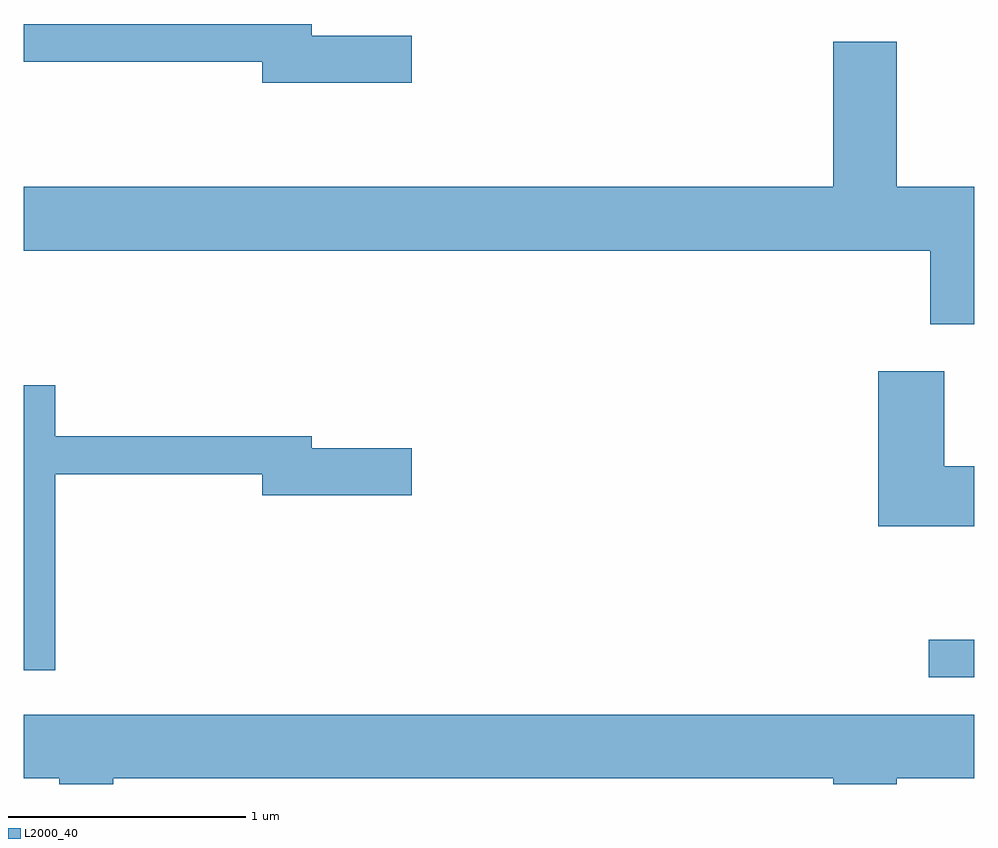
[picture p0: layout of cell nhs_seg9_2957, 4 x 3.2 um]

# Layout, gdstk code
import gdstk
lib = gdstk.Library(unit=1e-6, precision=1e-09)
def R(c, l, rs):  # rectangles x0, y0, x1, y1
    for r in rs: c.add(gdstk.rectangle(r[:2], r[2:], *l))
def P(c, l, *ps):  # polygons
    for p in ps: c.add(gdstk.Polygon(p, *l))
L2000_40 = (2000, 40)

nhs_seg9_2957 = lib.new_cell('nhs_seg9_2957')
R(nhs_seg9_2957, L2000_40, [(275.418,2018.881,275.611,2019.039)])
P(nhs_seg9_2957, L2000_40, [(273.244,2021.579),(272.824,2021.579),(272.824,2021.629),(271.611,2021.629),(271.611,2021.471),(272.616,2021.471),(272.616,2021.381),(273.244,2021.381)],
  [(275.611,2020.944),(275.284,2020.944),(275.284,2021.554),(275.016,2021.554),(275.016,2020.944),(271.611,2020.944),(271.611,2020.676),(275.426,2020.676),(275.426,2020.366),(275.611,2020.366)],
  [(275.611,2019.769),(275.484,2019.769),(275.484,2020.169),(275.206,2020.169),(275.206,2019.516),(275.611,2019.516)],
  [(271.744,2019.736),(272.616,2019.736),(272.616,2019.646),(273.244,2019.646),(273.244,2019.844),(272.824,2019.844),(272.824,2019.894),(271.744,2019.894),(271.744,2020.109),(271.611,2020.109),(271.611,2018.911),(271.744,2018.911)],
  [(271.989,2018.456),(275.016,2018.456),(275.016,2018.432),(275.284,2018.432),(275.284,2018.456),(275.611,2018.456),(275.611,2018.724),(271.611,2018.724),(271.611,2018.456),(271.761,2018.456),(271.761,2018.432),(271.989,2018.432)])

lib.write_gds('nhs_seg9_2957.gds')
